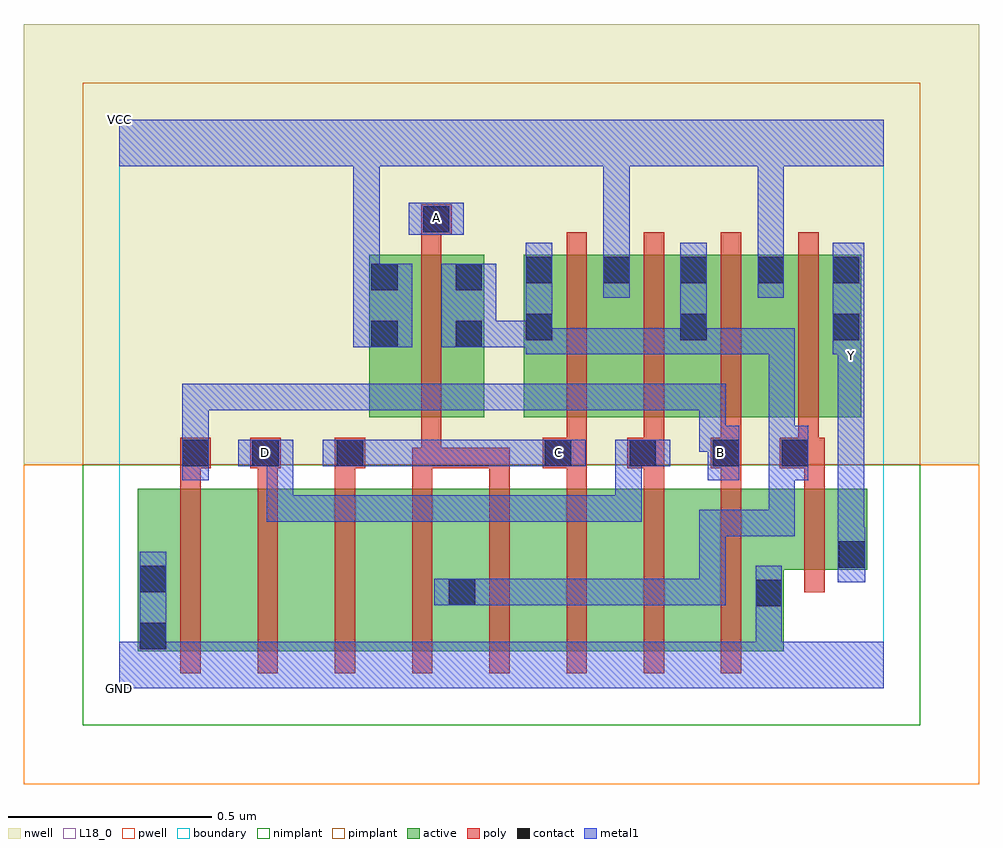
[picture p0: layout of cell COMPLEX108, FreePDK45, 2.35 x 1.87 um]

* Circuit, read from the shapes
.subckt COMPLEX108 A B C D GND VCC Y
M1 n1 B GND VSUBS nfet w=0.4u l=0.05u
M2 n2 D n1 VSUBS nfet w=0.4u l=0.05u
M3 n3 C n2 VSUBS nfet w=0.4u l=0.05u
M4 n4 A n3 VSUBS nfet w=0.4u l=0.05u
M5 n5 A n4 VSUBS nfet w=0.4u l=0.05u
M6 n6 C n5 VSUBS nfet w=0.4u l=0.05u
M7 n7 D n6 VSUBS nfet w=0.4u l=0.05u
M8 GND B n7 VSUBS nfet w=0.4u l=0.05u
M9 Y n4 GND VSUBS nfet w=0.2u l=0.05u
M10 n4 A VCC n8 pfet w=0.4u l=0.05u
M11 VCC C n4 n8 pfet w=0.4u l=0.05u
M12 n4 D VCC n8 pfet w=0.4u l=0.05u
M13 VCC B n4 n8 pfet w=0.4u l=0.05u
M14 Y n4 VCC n8 pfet w=0.4u l=0.05u
.ends

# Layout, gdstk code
import gdstk
lib = gdstk.Library(unit=1e-6, precision=1e-09)
def R(c, l, rs):  # rectangles x0, y0, x1, y1
    for r in rs: c.add(gdstk.rectangle(r[:2], r[2:], *l))
def A(c, l, x, y, w, h, nx, ny, dx, dy):  # array of equal rectangles
    R(c, l, [(x+i*dx, y+j*dy, x+i*dx+w, y+j*dy+h) for i in range(nx) for j in range(ny)])
active = (1, 0)
pwell = (2, 0)
nwell = (3, 0)
nimplant = (4, 0)
pimplant = (5, 0)
poly = (9, 0)
contact = (10, 0)
metal1 = (11, 0)
L18_0 = (18, 0)
boundary = (235, 0)

complex108 = lib.new_cell('COMPLEX108')
A(complex108, active, 0.995, 0.667, 0.265, 0.4, 3, 1, 0.19, 0)
A(complex108, active, 0.615, 0.802, 0.075, 0.265, 3, 1, 0.38, 0)
R(complex108, active, [(0.045,0.092,0.27,0.492), (0.045,0.092,0.12,0.492), (0.27,0.092,0.46,0.492), (0.46,0.092,0.65,0.492), (0.65,0.092,0.88,0.492), (0.805,0.092,1.03,0.492), (1.03,0.092,1.22,0.492), (1.22,0.092,1.41,0.492), (1.41,0.092,1.635,0.492), (1.56,0.092,1.635,0.31), (0.805,0.095,0.88,0.492), (1.56,0.292,1.84,0.492), (1.765,0.292,1.84,0.492), (0.615,0.667,0.897,1.067), (1.565,0.667,1.825,1.067), (1.75,0.667,1.825,1.067), (0.822,0.72,0.897,1.067), (1.565,0.872,1.64,1.067), (1.185,0.907,1.26,1.067)])
R(complex108, pwell, [(-0.235,-0.235,2.115,0.55)])
R(complex108, nwell, [(-0.235,0.55,2.115,1.635)])
R(complex108, nimplant, [(-0.09,-0.09,1.97,0.55)])
R(complex108, pimplant, [(-0.09,0.55,1.97,1.49)])
A(complex108, poly, 0.15, 0.037, 0.05, 0.51, 8, 1, 0.19, 0)
A(complex108, poly, 0.15, 0.497, 0.05, 0.095, 8, 1, 0.19, 0)
A(complex108, poly, 1.1, 0.567, 0.05, 0.095, 4, 1, 0.19, 0)
A(complex108, poly, 1.1, 0.612, 0.05, 0.51, 4, 1, 0.19, 0)
R(complex108, poly, [(1.685,0.237,1.735,0.547), (1.685,0.497,1.735,0.592), (0.15,0.542,0.225,0.617), (0.322,0.542,0.397,0.617), (0.53,0.542,0.605,0.617), (0.72,0.542,0.792,0.592), (0.742,0.542,0.96,0.592), (0.742,0.542,0.792,0.662), (0.91,0.542,0.96,0.592), (0.91,0.542,0.96,0.592), (0.91,0.542,0.96,0.592), (1.042,0.542,1.15,0.617), (1.25,0.542,1.34,0.617), (1.455,0.542,1.53,0.617), (1.625,0.542,1.735,0.617), (0.742,0.612,0.792,1.122), (0.742,1.072,0.792,1.167), (0.742,1.117,0.817,1.192)])
A(complex108, contact, 1, 0.997, 0.065, 0.065, 4, 1, 0.19, 0)
R(complex108, contact, [(0.05,0.097,0.115,0.162), (1.565,0.202,1.63,0.267), (0.81,0.205,0.875,0.27), (0.05,0.237,0.115,0.302), (1.77,0.297,1.835,0.362), (0.155,0.547,0.22,0.612), (0.327,0.547,0.392,0.612), (0.535,0.547,0.6,0.612), (1.047,0.547,1.112,0.612), (1.255,0.547,1.32,0.612), (1.46,0.547,1.525,0.612), (1.63,0.547,1.695,0.612), (0.62,0.84,0.685,0.905), (0.827,0.84,0.892,0.905), (1,0.857,1.065,0.922), (1.38,0.857,1.445,0.922), (1.755,0.857,1.82,0.922), (0.62,0.98,0.685,1.045), (0.827,0.98,0.892,1.045), (1.755,0.997,1.82,1.062), (0.747,1.122,0.812,1.187)])
R(complex108, metal1, [(0,0,1.88,0.115), (0.05,0.05,0.115,0.127), (1.565,0.05,1.63,0.232), (0.05,0.062,0.115,0.337), (1.565,0.167,1.63,0.302), (0.775,0.205,0.915,0.27), (0.85,0.205,0.915,0.27), (0.85,0.205,0.915,0.27), (0.85,0.205,1.065,0.27), (1,0.205,1.065,0.27), (1,0.205,1.065,0.27), (1,0.205,1.065,0.27), (1,0.205,1.307,0.27), (1.242,0.205,1.307,0.27), (1.242,0.205,1.307,0.27), (1.242,0.205,1.307,0.27), (1.242,0.205,1.492,0.27), (1.427,0.205,1.492,0.27), (1.427,0.205,1.492,0.44), (1.767,0.262,1.835,0.397), (1.767,0.332,1.832,0.817), (1.427,0.375,1.492,0.44), (1.427,0.375,1.492,0.44), (1.427,0.375,1.492,0.44), (1.427,0.375,1.662,0.44), (1.597,0.375,1.662,0.44), (1.597,0.375,1.662,0.647), (0.362,0.41,0.427,0.475), (0.362,0.41,0.427,0.612), (0.362,0.41,0.64,0.475), (0.575,0.41,0.64,0.475), (0.575,0.41,0.64,0.475), (0.575,0.41,0.64,0.475), (0.575,0.41,0.777,0.475), (0.712,0.41,0.777,0.475), (0.712,0.41,0.777,0.475), (0.712,0.41,0.777,0.475), (0.712,0.41,0.927,0.475), (0.862,0.41,0.927,0.475), (0.862,0.41,1.117,0.475), (1.052,0.41,1.117,0.475), (1.052,0.41,1.117,0.475), (1.052,0.41,1.117,0.475), (1.052,0.41,1.285,0.475), (1.22,0.41,1.285,0.475), (1.22,0.41,1.285,0.612), (0.155,0.512,0.22,0.647), (1.447,0.512,1.525,0.647), (1.63,0.512,1.695,0.647), (0.292,0.547,0.427,0.612), (0.362,0.547,0.427,0.612), (0.362,0.547,0.427,0.612), (0.5,0.547,0.635,0.612), (0.57,0.547,0.635,0.612), (0.57,0.547,0.635,0.612), (0.57,0.547,0.777,0.612), (0.712,0.547,0.777,0.612), (0.712,0.547,0.915,0.612), (0.85,0.547,0.915,0.612), (0.85,0.547,0.915,0.612), (0.85,0.547,0.915,0.612), (0.85,0.547,1.077,0.612), (1.012,0.547,1.077,0.612), (1.012,0.547,1.077,0.612), (1.012,0.547,1.147,0.612), (1.22,0.547,1.285,0.612), (1.22,0.547,1.285,0.612), (1.22,0.547,1.355,0.612), (0.155,0.582,0.22,0.647), (0.155,0.582,0.22,0.647), (0.155,0.582,0.22,0.75), (1.427,0.582,1.492,0.647), (1.427,0.582,1.512,0.647), (1.427,0.582,1.492,0.75), (1.597,0.582,1.662,0.647), (1.597,0.582,1.662,0.647), (1.597,0.582,1.662,0.647), (1.597,0.582,1.695,0.647), (1.597,0.582,1.662,0.887), (0.155,0.685,0.22,0.75), (0.155,0.685,0.427,0.75), (0.362,0.685,0.427,0.75), (0.362,0.685,0.427,0.75), (0.362,0.685,0.427,0.75), (0.362,0.685,0.64,0.75), (0.575,0.685,0.64,0.75), (0.575,0.685,0.64,0.75), (0.575,0.685,0.64,0.75), (0.575,0.685,0.777,0.75), (0.712,0.685,0.777,0.75), (0.712,0.685,0.777,0.75), (0.712,0.685,0.777,0.75), (0.712,0.685,0.927,0.75), (0.862,0.685,0.927,0.75), (0.862,0.685,1.117,0.75), (1.052,0.685,1.117,0.75), (1.052,0.685,1.117,0.75), (1.052,0.685,1.117,0.75), (1.052,0.685,1.307,0.75), (1.242,0.685,1.307,0.75), (1.242,0.685,1.307,0.75), (1.242,0.685,1.307,0.75), (1.242,0.685,1.492,0.75), (1.427,0.685,1.492,0.75), (1.767,0.752,1.832,0.887), (1,0.822,1.065,0.887), (1,0.822,1.065,0.887), (1,0.822,1.065,1.097), (1,0.822,1.307,0.887), (1.242,0.822,1.307,0.887), (1.242,0.822,1.307,0.887), (1.242,0.822,1.307,0.887), (1.242,0.822,1.445,0.887), (1.38,0.822,1.497,0.887), (1.38,0.822,1.445,1.097), (1.432,0.822,1.497,0.887), (1.432,0.822,1.662,0.887), (1.597,0.822,1.662,0.887), (1.755,0.822,1.832,1.097), (1.767,0.822,1.832,0.887), (0.575,0.84,0.72,1.045), (0.792,0.84,0.927,1.045), (0.862,0.84,0.927,0.905), (0.862,0.84,0.927,0.905), (0.862,0.84,1.065,0.905), (1.19,0.962,1.255,1.097), (1.57,0.962,1.635,1.097), (0.575,0.98,0.64,1.045), (0.575,0.98,0.64,1.045), (0.575,0.98,0.64,1.045), (0.575,0.98,0.64,1.045), (0.575,0.98,0.64,1.35), (1.19,1.032,1.255,1.097), (1.19,1.032,1.255,1.097), (1.19,1.032,1.255,1.35), (1.57,1.032,1.635,1.097), (1.57,1.032,1.635,1.097), (1.57,1.032,1.635,1.35), (0.712,1.117,0.847,1.195), (0,1.285,1.88,1.4), (1.19,1.285,1.255,1.35), (1.19,1.285,1.255,1.35), (1.57,1.285,1.635,1.35), (1.57,1.285,1.635,1.35)])
R(complex108, L18_0, [(0,0,1.88,0.115), (0.05,0.05,0.115,0.127), (1.565,0.05,1.63,0.232), (0.05,0.062,0.115,0.337), (1.565,0.167,1.63,0.302), (1.767,0.262,1.835,0.397), (1.767,0.332,1.832,0.817), (0.362,0.41,0.427,0.475), (0.362,0.41,0.427,0.612), (0.362,0.41,0.64,0.475), (0.575,0.41,0.64,0.475), (0.575,0.41,0.64,0.475), (0.575,0.41,0.64,0.475), (0.575,0.41,0.777,0.475), (0.712,0.41,0.777,0.475), (0.712,0.41,0.777,0.475), (0.712,0.41,0.777,0.475), (0.712,0.41,0.927,0.475), (0.862,0.41,0.927,0.475), (0.862,0.41,1.117,0.475), (1.052,0.41,1.117,0.475), (1.052,0.41,1.117,0.475), (1.052,0.41,1.117,0.475), (1.052,0.41,1.285,0.475), (1.22,0.41,1.285,0.475), (1.22,0.41,1.285,0.612), (0.155,0.512,0.22,0.647), (1.447,0.512,1.525,0.647), (0.292,0.547,0.427,0.612), (0.327,0.547,0.392,0.612), (0.362,0.547,0.427,0.612), (0.362,0.547,0.427,0.612), (0.5,0.547,0.635,0.612), (0.57,0.547,0.635,0.612), (0.57,0.547,0.635,0.612), (0.57,0.547,0.777,0.612), (0.712,0.547,0.777,0.612), (0.712,0.547,0.915,0.612), (0.85,0.547,0.915,0.612), (0.85,0.547,0.915,0.612), (0.85,0.547,0.915,0.612), (0.85,0.547,1.077,0.612), (1.012,0.547,1.077,0.612), (1.012,0.547,1.077,0.612), (1.012,0.547,1.147,0.612), (1.047,0.547,1.112,0.612), (1.22,0.547,1.285,0.612), (1.22,0.547,1.285,0.612), (1.22,0.547,1.355,0.612), (1.447,0.547,1.512,0.612), (0.155,0.582,0.22,0.647), (0.155,0.582,0.22,0.647), (0.155,0.582,0.22,0.75), (1.427,0.582,1.492,0.647), (1.427,0.582,1.492,0.75), (1.427,0.582,1.512,0.647), (0.155,0.685,0.22,0.75), (0.155,0.685,0.427,0.75), (0.362,0.685,0.427,0.75), (0.362,0.685,0.427,0.75), (0.362,0.685,0.427,0.75), (0.362,0.685,0.64,0.75), (0.575,0.685,0.64,0.75), (0.575,0.685,0.64,0.75), (0.575,0.685,0.64,0.75), (0.575,0.685,0.777,0.75), (0.712,0.685,0.777,0.75), (0.712,0.685,0.777,0.75), (0.712,0.685,0.777,0.75), (0.712,0.685,0.927,0.75), (0.862,0.685,0.927,0.75), (0.862,0.685,1.117,0.75), (1.052,0.685,1.117,0.75), (1.052,0.685,1.117,0.75), (1.052,0.685,1.117,0.75), (1.052,0.685,1.307,0.75), (1.242,0.685,1.307,0.75), (1.242,0.685,1.307,0.75), (1.242,0.685,1.307,0.75), (1.242,0.685,1.492,0.75), (1.427,0.685,1.492,0.75), (1.767,0.752,1.832,0.887), (1.767,0.787,1.832,0.852), (1.755,0.822,1.832,1.097), (1.767,0.822,1.832,0.887), (0.575,0.84,0.72,1.045), (1.19,0.962,1.255,1.097), (1.57,0.962,1.635,1.097), (0.575,0.98,0.64,1.045), (0.575,0.98,0.64,1.045), (0.575,0.98,0.64,1.045), (0.575,0.98,0.64,1.045), (0.575,0.98,0.64,1.35), (1.19,1.032,1.255,1.097), (1.19,1.032,1.255,1.097), (1.19,1.032,1.255,1.35), (1.57,1.032,1.635,1.097), (1.57,1.032,1.635,1.097), (1.57,1.032,1.635,1.35), (0.712,1.117,0.847,1.195), (0.747,1.127,0.812,1.192), (0,1.285,1.88,1.4), (1.19,1.285,1.255,1.35), (1.19,1.285,1.255,1.35), (1.57,1.285,1.635,1.35), (1.57,1.285,1.635,1.35)])
R(complex108, boundary, [(0,0,1.88,1.4)])
complex108.add(gdstk.Label('A', (0.78,1.16), layer=11, texttype=0))
complex108.add(gdstk.Label('B', (1.48,0.58), layer=11, texttype=0))
complex108.add(gdstk.Label('C', (1.08,0.58), layer=11, texttype=0))
complex108.add(gdstk.Label('D', (0.36,0.58), layer=11, texttype=0))
complex108.add(gdstk.Label('Y', (1.8,0.82), layer=11, texttype=0))
complex108.add(gdstk.Label('VCC', (0,1.4), layer=11, texttype=0))
complex108.add(gdstk.Label('GND', (0,0), layer=11, texttype=0))

lib.write_gds('COMPLEX108.gds')
